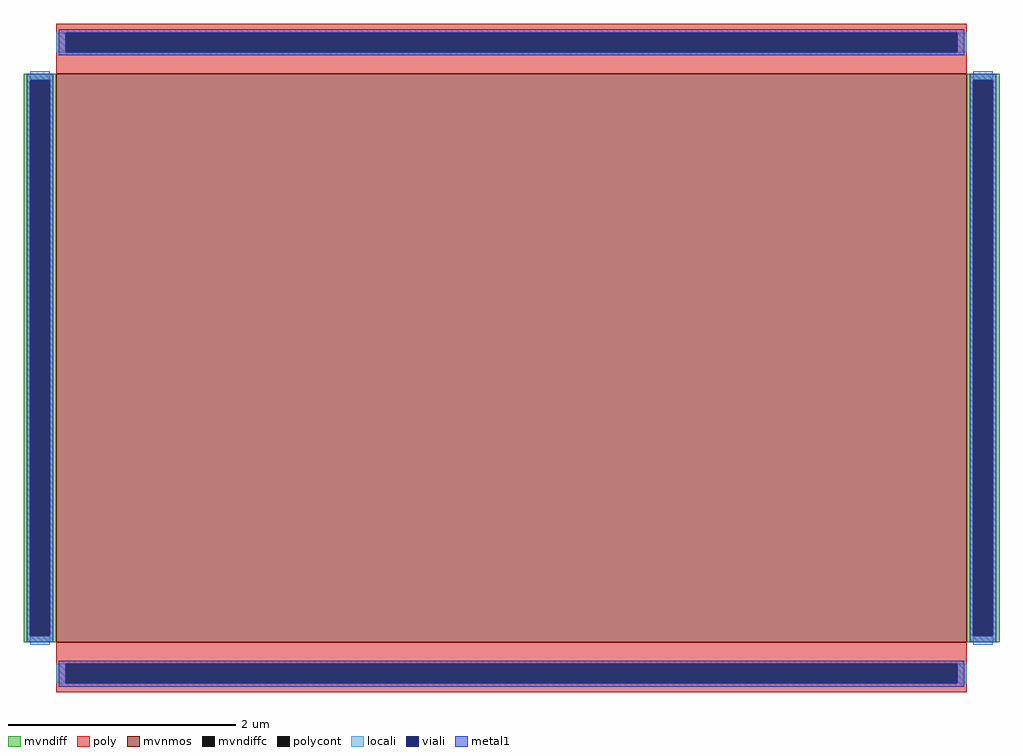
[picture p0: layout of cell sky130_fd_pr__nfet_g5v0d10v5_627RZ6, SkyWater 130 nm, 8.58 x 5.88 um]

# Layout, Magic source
magic
tech sky130A
<< mvnmos >>
rect -400 -250 400 250
<< mvndiff >>
rect -429 244 -400 250
rect -429 -244 -423 244
rect -406 -244 -400 244
rect -429 -250 -400 -244
rect 400 244 429 250
rect 400 -244 406 244
rect 423 -244 429 244
rect 400 -250 429 -244
<< mvndiffc >>
rect -423 -244 -406 244
rect 406 -244 423 244
<< poly >>
rect -400 286 400 294
rect -400 269 -392 286
rect 392 269 400 286
rect -400 250 400 269
rect -400 -269 400 -250
rect -400 -286 -392 -269
rect 392 -286 400 -269
rect -400 -294 400 -286
<< polycont >>
rect -392 269 392 286
rect -392 -286 392 -269
<< locali >>
rect -400 269 -392 286
rect 392 269 400 286
rect -423 244 -406 252
rect -423 -252 -406 -244
rect 406 244 423 252
rect 406 -252 423 -244
rect -400 -286 -392 -269
rect 392 -286 400 -269
<< viali >>
rect -392 269 392 286
rect -423 -244 -406 244
rect 406 -244 423 244
rect -392 -286 392 -269
<< metal1 >>
rect -398 286 398 289
rect -398 269 -392 286
rect 392 269 398 286
rect -398 266 398 269
rect -426 244 -403 250
rect -426 -244 -423 244
rect -406 -244 -403 244
rect -426 -250 -403 -244
rect 403 244 426 250
rect 403 -244 406 244
rect 423 -244 426 244
rect 403 -250 426 -244
rect -398 -269 398 -266
rect -398 -286 -392 -269
rect 392 -286 398 -269
rect -398 -289 398 -286
<< properties >>
string gencell sky130_fd_pr__nfet_g5v0d10v5
string library sky130
string parameters w 5 l 8.0 m 1 nf 1 diffcov 100 polycov 100 guard 0 glc 1 grc 1 gtc 1 gbc 1 tbcov 100 rlcov 100 topc 1 botc 1 poverlap 0 doverlap 1 lmin 0.50 wmin 0.42 compatible {sky130_fd_pr__nfet_01v8 sky130_fd_pr__nfet_01v8_lvt  sky130_fd_bs_flash__special_sonosfet_star  sky130_fd_pr__nfet_g5v0d10v5 sky130_fd_pr__nfet_05v0_nvt  sky130_fd_pr__nfet_03v3_nvt} full_metal 1 viasrc 100 viadrn 100 viagate 100 viagb 0 viagr 0 viagl 0 viagt 0
<< end >>
